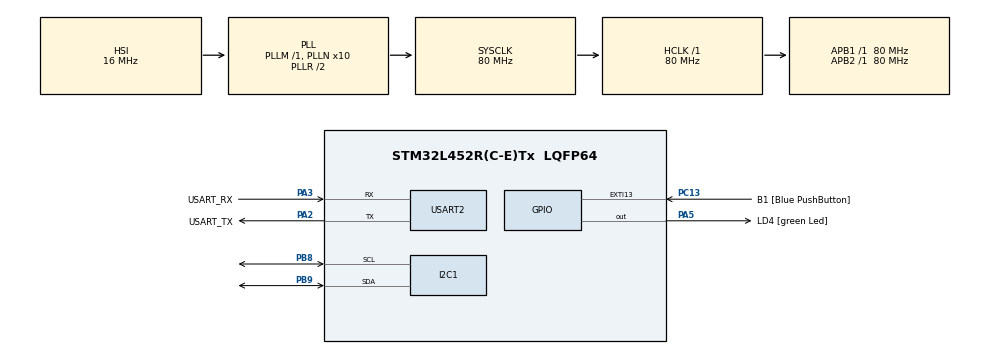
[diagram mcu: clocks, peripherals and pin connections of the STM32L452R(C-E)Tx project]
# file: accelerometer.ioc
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I2C1.Timing=0x10909CEC
Mcu.Family=STM32L4
Mcu.Name=STM32L452R(C-E)Tx
Mcu.Package=LQFP64
NVIC.PriorityGroup=NVIC_PRIORITYGROUP_4
PA13\ (JTMS/SWDIO).GPIO_Label=TMS
PA13\ (JTMS/SWDIO).Mode=Serial_Wire
PA13\ (JTMS/SWDIO).Signal=SYS_JTMS-SWDIO
PA14\ (JTCK/SWCLK).GPIO_Label=TCK
PA14\ (JTCK/SWCLK).Mode=Serial_Wire
PA14\ (JTCK/SWCLK).Signal=SYS_JTCK-SWCLK
PA2.GPIO_Label=USART_TX
PA2.GPIO_Mode=GPIO_MODE_AF_PP
PA2.GPIO_PuPd=GPIO_NOPULL
PA2.GPIO_Speed=GPIO_SPEED_FREQ_VERY_HIGH
PA2.Mode=Asynchronous
PA2.Signal=USART2_TX
PA3.GPIO_Label=USART_RX
PA3.GPIO_Mode=GPIO_MODE_AF_PP
PA3.GPIO_PuPd=GPIO_NOPULL
PA3.GPIO_Speed=GPIO_SPEED_FREQ_VERY_HIGH
PA3.Mode=Asynchronous
PA3.Signal=USART2_RX
PA5.GPIO_Label=LD4 [green Led]
PA5.GPIO_ModeDefaultOutputPP=GPIO_MODE_OUTPUT_PP
PA5.GPIO_PuPd=GPIO_NOPULL
PA5.GPIO_Speed=GPIO_SPEED_FREQ_LOW
PA5.Signal=GPIO_Output
PB3\ (JTDO/TRACESWO).GPIO_Label=SWO
PB3\ (JTDO/TRACESWO).Signal=SYS_JTDO-SWO
PB8.Mode=I2C
PB8.Signal=I2C1_SCL
PB9.Mode=I2C
PB9.Signal=I2C1_SDA
PC13.GPIO_Label=B1 [Blue PushButton]
PC13.GPIO_ModeDefaultEXTI=GPIO_MODE_IT_FALLING
PC13.GPIO_PuPd=GPIO_NOPULL
PC13.Signal=GPXTI13
PC14-OSC32_IN\ (PC14).Mode=LSE-External-Oscillator
PC14-OSC32_IN\ (PC14).Signal=RCC_OSC32_IN
PC15-OSC32_OUT\ (PC15).Mode=LSE-External-Oscillator
PC15-OSC32_OUT\ (PC15).Signal=RCC_OSC32_OUT
PH0-OSC_IN\ (PH0).Signal=RCC_OSC_IN
PH1-OSC_OUT\ (PH1).Signal=RCC_OSC_OUT
ProjectManager.HeapSize=0x200
ProjectManager.StackSize=0x400
ProjectManager.TargetToolchain=STM32CubeIDE
RCC.ADCFreq_Value=64000000
RCC.AHBFreq_Value=80000000
RCC.APB1Freq_Value=80000000
RCC.APB1TimFreq_Value=80000000
RCC.APB2Freq_Value=80000000
RCC.APB2TimFreq_Value=80000000
RCC.CortexFreq_Value=80000000
RCC.HCLKFreq_Value=80000000
RCC.HSE_VALUE=8000000
RCC.HSI48_VALUE=48000000
RCC.HSI_VALUE=16000000
RCC.MSI_VALUE=4000000
RCC.PLLN=10
RCC.PLLSourceVirtual=RCC_PLLSOURCE_HSI
RCC.PREFETCH_ENABLE=1
RCC.SYSCLKFreq_VALUE=80000000
RCC.SYSCLKSource=RCC_SYSCLKSOURCE_PLLCLK
RCC.USBFreq_Value=64000000
RCC.VCOOutputFreq_Value=160000000
USART2.VirtualMode-Asynchronous=VM_ASYNC
board=NUCLEO-L452RE

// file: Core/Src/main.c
/* USER CODE BEGIN Header */
/* may 10,2023
 * accelerometer tutorial (https://youtu.be/1-Fb9RjbGUA)
 * works on hardware
 */
/**
  ******************************************************************************
  * @file           : main.c
  * @brief          : Main program body
  ******************************************************************************
  * @attention
  *
  * Copyright (c) 2023 STMicroelectronics.
  * All rights reserved.
  *
  * This software is licensed under terms that can be found in the LICENSE file
  * in the root directory of this software component.
  * If no LICENSE file comes with this software, it is provided AS-IS.
  *
  ******************************************************************************
  */
/* USER CODE END Header */
#include "main.h"

/* USER CODE BEGIN Includes */
#include <string.h>
#include <stdio.h>
/* USER CODE END Includes */

I2C_HandleTypeDef hi2c1;

UART_HandleTypeDef huart2;

/* USER CODE BEGIN PV */
#define adxl_address 0x53<<1
/* USER CODE END PV */

void SystemClock_Config(void);
static void MX_GPIO_Init(void);
static void MX_USART2_UART_Init(void);
static void MX_I2C1_Init(void);
/* USER CODE BEGIN PFP */

uint8_t data_rec[6];

int16_t x, y, z; // original: uint16-t

float xg, yg, zg;

void display_data (float);

char x_char[3];

// write function
void adxl_write (uint8_t reg, uint8_t value) {
	uint8_t data[2];
	data[0] = reg;
	data[1] = value;
	HAL_I2C_Master_Transmit (&hi2c1, adxl_address, data, 2, 10);
	/* HAL_StatusTypeDef HAL_I2C_Master_Transmit(I2C_HandleTypeDef *hi2c, uint16_t DevAddress, uint8_t *pData,
    uint16_t Size, uint32_t Timeout) */
	// ^ this has something to do with the formatting
}

/**
  * @brief  Transmits in master mode an amount of data in blocking mode.
  * @param  hi2c Pointer to a I2C_HandleTypeDef structure that contains
  *                the configuration information for the specified I2C.
  * @param  DevAddress Target device address: The device 7 bits address value
  *         in datasheet must be shifted to the left before calling the interface
  * @param  pData Pointer to data buffer
  * @param  Size Amount of data to be sent
  * @param  Timeout Timeout duration
  * @retval HAL status
  */
/* HAL_StatusTypeDef HAL_I2C_Master_Transmit(I2C_HandleTypeDef *hi2c, uint16_t DevAddress, uint8_t *pData,
    uint16_t Size, uint32_t Timeout) */

// read function
void adxl_read (uint8_t reg, uint8_t numberofbytes) {
	HAL_I2C_Mem_Read (&hi2c1, adxl_address, reg, 1, data_rec, numberofbytes, 100);
}

/**
  * @brief  Read an amount of data in blocking mode from a specific memory address
  * @param  hi2c Pointer to a I2C_HandleTypeDef structure that contains
  *                the configuration information for the specified I2C.
  * @param  DevAddress Target device address: The device 7 bits address value
  *         in datasheet must be shifted to the left before calling the interface
  * @param  MemAddress Internal memory address
  * @param  MemAddSize Size of internal memory address
  * @param  pData Pointer to data buffer
  * @param  Size Amount of data to be sent
  * @param  Timeout Timeout duration
  * @retval HAL status
  */
//HAL_StatusTypeDef HAL_I2C_Mem_Read(I2C_HandleTypeDef *hi2c, uint16_t DevAddress, uint16_t MemAddress,
//                                   uint16_t MemAddSize, uint8_t *pData, uint16_t Size, uint32_t Timeout)

/**
  * @brief  Receives in master mode an amount of data in blocking mode.
  * @param  hi2c Pointer to a I2C_HandleTypeDef structure that contains
  *                the configuration information for the specified I2C.
  * @param  DevAddress Target device address: The device 7 bits address value
  *         in datasheet must be shifted to the left before calling the interface
  * @param  pData Pointer to data buffer
  * @param  Size Amount of data to be sent
  * @param  Timeout Timeout duration
  * @retval HAL status
  */
//HAL_StatusTypeDef HAL_I2C_Master_Receive(I2C_HandleTypeDef *hi2c, uint16_t DevAddress, uint8_t *pData,
//                                         uint16_t Size, uint32_t Timeout)

/**
  * @brief  Write an amount of data in blocking mode to a specific memory address
  * @param  hi2c Pointer to a I2C_HandleTypeDef structure that contains
  *                the configuration information for the specified I2C.
  * @param  DevAddress Target device address: The device 7 bits address value
  *         in datasheet must be shifted to the left before calling the interface
  * @param  MemAddress Internal memory address
  * @param  MemAddSize Size of internal memory address
  * @param  pData Pointer to data buffer
  * @param  Size Amount of data to be sent
  * @param  Timeout Timeout duration
  * @retval HAL status
  */
//HAL_StatusTypeDef HAL_I2C_Mem_Write(I2C_HandleTypeDef *hi2c, uint16_t DevAddress, uint16_t MemAddress,
//                                    uint16_t MemAddSize, uint8_t *pData, uint16_t Size, uint32_t Timeout)

// initialization
void adxl_init (void) {
	adxl_read(0x00,1); // 0xE5

	adxl_write (0x2d, 0); // reset all bits
	adxl_write (0x2d, 0x08); // measure bit-1, wakeup 0, 0 at 8hz

	adxl_write (0x31, 0x01); // +- 4g range
}

void display_data(float data) { // TODO check if UART output formatting is correct
	sprintf (x_char, "% 4f", data); // needed to add -u _printf_float linker flag -- might have to change to %.4f
	HAL_UART_Transmit(&huart2,x_char,strlen((char*)x_char),HAL_MAX_DELAY);
}

/* USER CODE END PFP */

int main(void)
{
  /* USER CODE BEGIN 1 */
	uint8_t buf[12];
  /* USER CODE END 1 */

  /* MCU Configuration--------------------------------------------------------*/

  /* Reset of all peripherals, Initializes the Flash interface and the Systick. */
  HAL_Init();

  /* Configure the system clock */
  SystemClock_Config();

  /* Initialize all configured peripherals */
  MX_GPIO_Init();
  MX_USART2_UART_Init();
  MX_I2C1_Init();
  /* USER CODE BEGIN 2 */
  adxl_init();
  /* USER CODE END 2 */

  /* Infinite loop */
  while (1)
  {

    /* USER CODE BEGIN 3 */
	  adxl_read (0x32, 6);
	  x = (data_rec[1]<<8) | data_rec[0];
	  y = (data_rec[3]<<8) | data_rec[2];
	  z = (data_rec[5]<<8) | data_rec[4];

	  xg = x * .0078; // convert the x value to the g
	  yg = y * .0078;
	  zg = z * .0078;

	  // print data to UART
	  strcpy((char*)buf,"\r\n============\r\nX: ");
	  HAL_UART_Transmit(&huart2,buf,strlen((char*)buf),HAL_MAX_DELAY);
	  display_data(xg);

	  strcpy((char*)buf,"\r\nY: ");
	  HAL_UART_Transmit(&huart2,buf,strlen((char*)buf),HAL_MAX_DELAY);
	  display_data(yg);

	  strcpy((char*)buf,"\r\nZ: ");
	  HAL_UART_Transmit(&huart2,buf,strlen((char*)buf),HAL_MAX_DELAY);
	  display_data(zg);

	  HAL_Delay(500);
  }
  /* USER CODE END 3 */
}

void SystemClock_Config(void)
{
  RCC_OscInitTypeDef RCC_OscInitStruct = {0};
  RCC_ClkInitTypeDef RCC_ClkInitStruct = {0};

  /** Configure the main internal regulator output voltage
  */
  if (HAL_PWREx_ControlVoltageScaling(PWR_REGULATOR_VOLTAGE_SCALE1) != HAL_OK)
  {
    Error_Handler();
  }

  /** Initializes the RCC Oscillators according to the specified parameters
  * in the RCC_OscInitTypeDef structure.
  */
  RCC_OscInitStruct.OscillatorType = RCC_OSCILLATORTYPE_HSI;
  RCC_OscInitStruct.HSIState = RCC_HSI_ON;
  RCC_OscInitStruct.HSICalibrationValue = RCC_HSICALIBRATION_DEFAULT;
  RCC_OscInitStruct.PLL.PLLState = RCC_PLL_ON;
  RCC_OscInitStruct.PLL.PLLSource = RCC_PLLSOURCE_HSI;
  RCC_OscInitStruct.PLL.PLLM = 1;
  RCC_OscInitStruct.PLL.PLLN = 10;
  RCC_OscInitStruct.PLL.PLLP = RCC_PLLP_DIV7;
  RCC_OscInitStruct.PLL.PLLQ = RCC_PLLQ_DIV2;
  RCC_OscInitStruct.PLL.PLLR = RCC_PLLR_DIV2;
  if (HAL_RCC_OscConfig(&RCC_OscInitStruct) != HAL_OK)
  {
    Error_Handler();
  }

  /** Initializes the CPU, AHB and APB buses clocks
  */
  RCC_ClkInitStruct.ClockType = RCC_CLOCKTYPE_HCLK|RCC_CLOCKTYPE_SYSCLK
                              |RCC_CLOCKTYPE_PCLK1|RCC_CLOCKTYPE_PCLK2;
  RCC_ClkInitStruct.SYSCLKSource = RCC_SYSCLKSOURCE_PLLCLK;
  RCC_ClkInitStruct.AHBCLKDivider = RCC_SYSCLK_DIV1;
  RCC_ClkInitStruct.APB1CLKDivider = RCC_HCLK_DIV1;
  RCC_ClkInitStruct.APB2CLKDivider = RCC_HCLK_DIV1;

  if (HAL_RCC_ClockConfig(&RCC_ClkInitStruct, FLASH_LATENCY_4) != HAL_OK)
  {
    Error_Handler();
  }
}

static void MX_I2C1_Init(void)
{

  hi2c1.Instance = I2C1;
  hi2c1.Init.Timing = 0x10909CEC;
  hi2c1.Init.OwnAddress1 = 0;
  hi2c1.Init.AddressingMode = I2C_ADDRESSINGMODE_7BIT;
  hi2c1.Init.DualAddressMode = I2C_DUALADDRESS_DISABLE;
  hi2c1.Init.OwnAddress2 = 0;
  hi2c1.Init.OwnAddress2Masks = I2C_OA2_NOMASK;
  hi2c1.Init.GeneralCallMode = I2C_GENERALCALL_DISABLE;
  hi2c1.Init.NoStretchMode = I2C_NOSTRETCH_DISABLE;
  if (HAL_I2C_Init(&hi2c1) != HAL_OK)
  {
    Error_Handler();
  }

  /** Configure Analogue filter
  */
  if (HAL_I2CEx_ConfigAnalogFilter(&hi2c1, I2C_ANALOGFILTER_ENABLE) != HAL_OK)
  {
    Error_Handler();
  }

  /** Configure Digital filter
  */
  if (HAL_I2CEx_ConfigDigitalFilter(&hi2c1, 0) != HAL_OK)
  {
    Error_Handler();
  }

}

static void MX_USART2_UART_Init(void)
{

  huart2.Instance = USART2;
  huart2.Init.BaudRate = 115200;
  huart2.Init.WordLength = UART_WORDLENGTH_8B;
  huart2.Init.StopBits = UART_STOPBITS_1;
  huart2.Init.Parity = UART_PARITY_NONE;
  huart2.Init.Mode = UART_MODE_TX_RX;
  huart2.Init.HwFlowCtl = UART_HWCONTROL_NONE;
  huart2.Init.OverSampling = UART_OVERSAMPLING_16;
  huart2.Init.OneBitSampling = UART_ONE_BIT_SAMPLE_DISABLE;
  huart2.AdvancedInit.AdvFeatureInit = UART_ADVFEATURE_NO_INIT;
  if (HAL_UART_Init(&huart2) != HAL_OK)
  {
    Error_Handler();
  }

}

static void MX_GPIO_Init(void)
{
  GPIO_InitTypeDef GPIO_InitStruct = {0};

  /* GPIO Ports Clock Enable */
  __HAL_RCC_GPIOC_CLK_ENABLE();
  __HAL_RCC_GPIOH_CLK_ENABLE();
  __HAL_RCC_GPIOA_CLK_ENABLE();
  __HAL_RCC_GPIOB_CLK_ENABLE();

  /*Configure GPIO pin Output Level */
  HAL_GPIO_WritePin(LD4_GPIO_Port, LD4_Pin, GPIO_PIN_RESET);

  /*Configure GPIO pin : B1_Pin */
  GPIO_InitStruct.Pin = B1_Pin;
  GPIO_InitStruct.Mode = GPIO_MODE_IT_FALLING;
  GPIO_InitStruct.Pull = GPIO_NOPULL;
  HAL_GPIO_Init(B1_GPIO_Port, &GPIO_InitStruct);

  /*Configure GPIO pin : LD4_Pin */
  GPIO_InitStruct.Pin = LD4_Pin;
  GPIO_InitStruct.Mode = GPIO_MODE_OUTPUT_PP;
  GPIO_InitStruct.Pull = GPIO_NOPULL;
  GPIO_InitStruct.Speed = GPIO_SPEED_FREQ_LOW;
  HAL_GPIO_Init(LD4_GPIO_Port, &GPIO_InitStruct);

}

void Error_Handler(void)
{
  __disable_irq();
  while (1)
  {
  }
}
